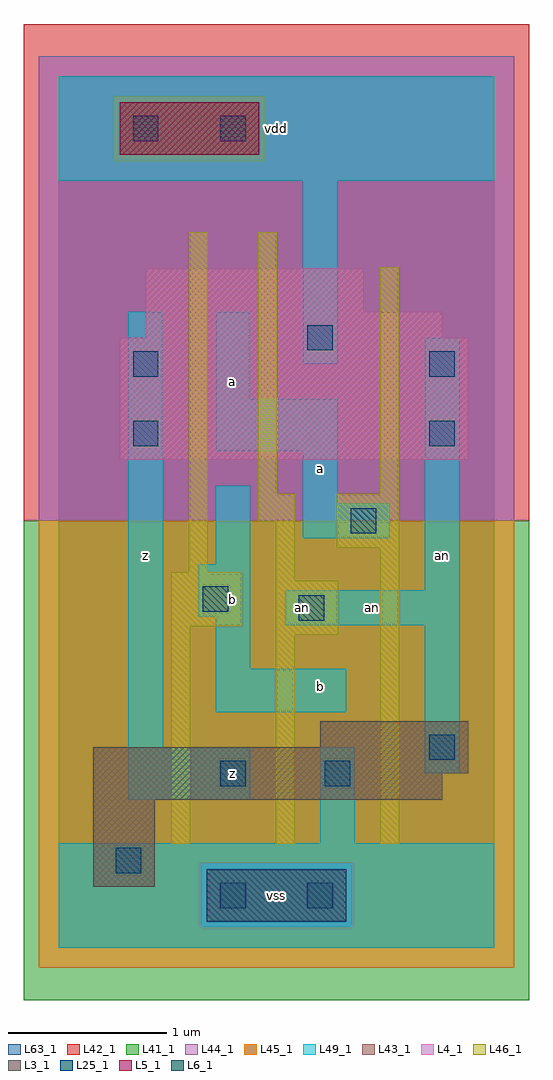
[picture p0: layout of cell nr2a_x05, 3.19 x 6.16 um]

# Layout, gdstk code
import gdstk
lib = gdstk.Library(unit=1e-6, precision=1e-09)
def R(c, l, rs):  # rectangles x0, y0, x1, y1
    for r in rs: c.add(gdstk.rectangle(r[:2], r[2:], *l))
L3_1 = (3, 1)
L4_1 = (4, 1)
L5_1 = (5, 1)
L6_1 = (6, 1)
L25_1 = (25, 1)
L41_1 = (41, 1)
L42_1 = (42, 1)
L43_1 = (43, 1)
L44_1 = (44, 1)
L45_1 = (45, 1)
L46_1 = (46, 1)
L49_1 = (49, 1)
L63_1 = (63, 1)

nr2a_x05 = lib.new_cell('nr2a_x05')
R(nr2a_x05, L3_1, [(0.22,0.385,0.605,0.935), (0.22,0.935,2.42,1.1), (0.22,1.1,2.585,1.265), (1.65,1.265,2.585,1.43)])
R(nr2a_x05, L4_1, [(0.385,3.08,2.585,3.85), (0.55,3.85,2.42,4.015), (0.55,4.015,1.925,4.29)])
R(nr2a_x05, L5_1, [(0.385,5.005,1.265,5.335)])
R(nr2a_x05, L6_1, [(0.935,0.165,1.815,0.495)])
R(nr2a_x05, L25_1, [(1.02,0.25,1.18,0.41), (1.57,0.25,1.73,0.41), (0.36,0.47,0.52,0.63), (1.02,1.02,1.18,1.18), (1.68,1.02,1.84,1.18), (2.34,1.185,2.5,1.345), (1.515,2.065,1.675,2.225), (0.91,2.12,1.07,2.28), (1.845,2.615,2.005,2.775), (0.47,3.165,0.63,3.325), (2.34,3.165,2.5,3.325), (0.47,3.605,0.63,3.765), (2.34,3.605,2.5,3.765), (1.57,3.77,1.73,3.93), (0.47,5.09,0.63,5.25), (1.02,5.09,1.18,5.25)])
R(nr2a_x05, L41_1, [(-0.22,-0.33,2.97,2.695)])
R(nr2a_x05, L42_1, [(-0.22,2.695,2.97,5.83)])
R(nr2a_x05, L43_1, [(0.935,0.165,1.815,0.495), (0.22,0.385,0.605,0.935), (0.22,0.935,2.42,1.1), (0.22,1.1,2.585,1.265), (1.65,1.265,2.585,1.43), (0.385,3.08,2.585,3.85), (0.55,3.85,2.42,4.015), (0.55,4.015,1.925,4.29), (0.385,5.005,1.265,5.335)])
R(nr2a_x05, L44_1, [(0.895,0.125,1.855,0.535), (-0.125,2.695,2.875,4.965), (-0.125,4.965,0.345,5.375), (1.305,4.965,2.875,5.375), (-0.125,5.375,2.875,5.625)])
R(nr2a_x05, L45_1, [(-0.125,-0.125,2.875,0.125), (-0.125,0.125,0.895,0.535), (1.855,0.125,2.875,0.535), (-0.125,0.535,2.875,2.695), (0.345,4.965,1.305,5.375)])
R(nr2a_x05, L46_1, [(0.71,0.655,0.83,2.03), (1.37,0.655,1.49,1.975), (2.03,0.655,2.15,2.525), (1.37,1.975,1.765,2.315), (0.71,2.03,1.16,2.37), (1.37,2.315,1.49,2.69), (0.82,2.37,0.94,4.515), (1.755,2.525,2.15,2.865), (1.26,2.69,1.49,2.865), (1.26,2.865,1.38,4.515), (2.03,2.865,2.15,4.295)])
R(nr2a_x05, L49_1, [(0,0,2.75,0.66), (1.65,0.66,1.87,1.265), (0.44,0.935,1.21,1.265), (2.31,1.1,2.53,2.035), (0.44,1.265,0.66,4.015), (0.99,1.485,1.815,1.76), (0.99,1.76,1.21,2.09), (1.43,2.035,2.53,2.255), (0.88,2.09,1.21,2.42), (2.31,2.255,2.53,3.85), (0.99,2.42,1.21,2.915), (1.54,2.585,2.09,2.805), (1.54,2.805,1.76,3.135), (0.99,3.135,1.76,3.465), (0.99,3.465,1.21,4.015), (1.54,3.685,1.76,4.84), (0,4.84,2.75,5.5)])
R(nr2a_x05, L63_1, [(0,0,2.75,5.5)])
nr2a_x05.add(gdstk.Label('an', (1.54,2.145), layer=49, texttype=1))
nr2a_x05.add(gdstk.Label('z', (1.1,1.1), layer=49, texttype=1))
nr2a_x05.add(gdstk.Label('z', (1.1,1.1), layer=49, texttype=1))
nr2a_x05.add(gdstk.Label('z', (0.55,2.475), layer=49, texttype=1))
nr2a_x05.add(gdstk.Label('z', (0.55,2.475), layer=49, texttype=1))
nr2a_x05.add(gdstk.Label('b', (1.1,2.2), layer=49, texttype=1))
nr2a_x05.add(gdstk.Label('b', (1.1,2.2), layer=49, texttype=1))
nr2a_x05.add(gdstk.Label('a', (1.1,3.575), layer=49, texttype=1))
nr2a_x05.add(gdstk.Label('a', (1.1,3.575), layer=49, texttype=1))
nr2a_x05.add(gdstk.Label('vss', (1.375,0.33), layer=49, texttype=1))
nr2a_x05.add(gdstk.Label('vss', (1.375,0.33), layer=49, texttype=1))
nr2a_x05.add(gdstk.Label('b', (1.65,1.65), layer=49, texttype=1))
nr2a_x05.add(gdstk.Label('b', (1.65,1.65), layer=49, texttype=1))
nr2a_x05.add(gdstk.Label('a', (1.65,3.025), layer=49, texttype=1))
nr2a_x05.add(gdstk.Label('a', (1.65,3.025), layer=49, texttype=1))
nr2a_x05.add(gdstk.Label('vdd', (1.375,5.17), layer=49, texttype=1))
nr2a_x05.add(gdstk.Label('vdd', (1.375,5.17), layer=49, texttype=1))
nr2a_x05.add(gdstk.Label('an', (1.98,2.145), layer=49, texttype=1))
nr2a_x05.add(gdstk.Label('an', (2.42,2.475), layer=49, texttype=1))

lib.write_gds('nr2a_x05.gds')
